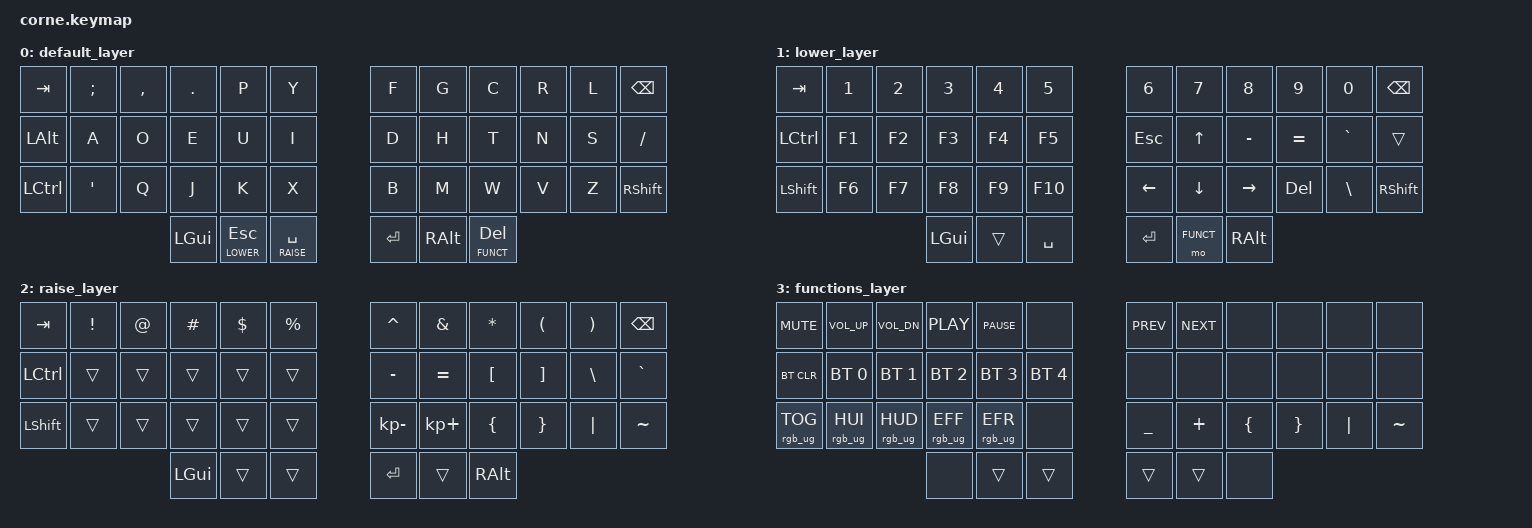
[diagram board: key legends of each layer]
/*
* Copyright (c) 2020 The ZMK Contributors
*
* SPDX-License-Identifier: MIT
*/

#include <behaviors.dtsi>
#include <dt-bindings/zmk/keys.h>
#include <dt-bindings/zmk/bt.h>
#include <dt-bindings/zmk/rgb.h>


#define DEFAULT 0
#define LOWER   1
#define RAISE   2
#define FUNCT   3

/ {
	keymap {
		compatible = "zmk,keymap";
		
		default_layer {
			// -----------------------------------------------------------------------------------------
			// | TAB |  ;  |  ,  |  .  |  P  |  Y  |   |  F  |  G   |  C  |  R  |  L  | BSPC |
			//| LALT |  A  |  O  |  E  |  U  |  I  |   |  D  |  H   |  T  |  N  |  S  |  /   |
			// | LCTRL | ' |  Q  |  J  |  K  |  X  |   |  B  |  M   |  W  |  V  |  Z  | RSHITF |
			//                    | GUI | ESC(LOWER) | SPC(RAISE) |   | ENT | RSE  | ALT |
			bindings = <
			&kp TAB  &kp SEMICOLON &kp COMMA &kp PERIOD  &kp P &kp Y   &kp F &kp G  &kp C     &kp R   &kp L    &kp BSPC
			&kp LALT &kp A &kp O &kp E &kp U &kp I   &kp D &kp H  &kp T     &kp N   &kp S &kp SLASH
			&kp LCTRL &kp SQT &kp Q &kp J &kp K &kp X   &kp B &kp M  &kp W &kp V &kp Z &kp RSHFT
			&kp LGUI &lt LOWER ESC &lt RAISE SPACE   &kp ENTER &kp RALT  &lt FUNCT DEL
			>;
		};

		lower_layer {
			// -----------------------------------------------------------------------------------------
			// |  TAB  |  1  |  2  |  3  |  4  |  5  |   |  6   |  7   |   8   |   9    |     0     |  BSPC  |
			// | BTCLR |  F1 |  F2 |  F3 |  F4 |  F5 |   | ESC  |  UP  | MINUS | EQUAL  |   GRAVE   |        |
			// | SHFT  |  F6 |  F7 |  F8 |  F9 | F10 |   | LEFT | DOWN | RIGHT | DELETE | BACKSLASH | RSHIFT |
			//                     | GUI |     | SPC |   | ENT  | FUNCT | ALT |
			bindings = <
			&kp TAB    &kp N1     &kp N2    &kp N3   &kp N4   &kp N5      &kp N6    &kp N7    &kp N8     &kp N9      &kp N0         &kp BSPC
			&kp LCTRL  &kp F1     &kp F2    &kp F3   &kp F4   &kp F5      &kp ESC   &kp UP    &kp MINUS  &kp EQUAL   &kp GRAVE      &trans
			&kp LSHFT  &kp F6     &kp F7    &kp F8   &kp F9   &kp F10     &kp LEFT  &kp DOWN  &kp RIGHT  &kp DELETE  &kp BACKSLASH  &kp RSHFT
			&kp LGUI   &trans     &kp SPACE                               &kp ENTER &mo FUNCT &kp RALT
			>;
		};
		
		raise_layer {
			// -----------------------------------------------------------------------------------------
			// |  TAB |  !  |  @  |  #  |  $  |  %  |   |  ^  |  &  |  *  |  (  |  )  | BSPC |
			// | CTRL |     |     |     |     |     |   |  -  |  =  |  [  |  ]  |  \  |  `   |
			// | SHFT |     |     |     |     |     |   |  _  |  +  |  {  |  }  | "|" |  ~   |
			//                    | GUI |     | SPC |   | ENT |     | ALT |
			bindings = <
			&kp  TAB  &kp EXCL &kp AT &kp HASH &kp DLLR &kp PRCNT   &kp CARET &kp AMPS  &kp ASTRK &kp LPAR &kp RPAR &kp BSPC
			&kp LCTRL &trans   &trans &trans   &trans   &trans      &kp MINUS &kp EQUAL &kp LBKT  &kp RBKT &kp BSLH &kp GRAVE
			&kp LSHFT &trans   &trans &trans   &trans   &trans      &kp KP_MINUS &kp KP_PLUS  &kp LBRC  &kp RBRC &kp PIPE &kp TILDE
			&kp LGUI  &trans   &trans   &kp RET   &trans    &kp RALT
			>;
		};

                functions_layer {
			// -----------------------------------------------------------------------------------------
			// |  TAB |  !  |  @  |  #  |  $  |  %  |   |  ^  |  &  |  *  |  (  |  )  | BSPC |
			// | CTRL |     |     |     |     |     |   |  -  |  =  |  [  |  ]  |  \  |  `   |
			// | SHFT |     |     |     |     |     |   |  _  |  +  |  {  |  }  | "|" |  ~   |
			//                    | GUI |     | SPC |   | ENT |     | ALT |
			bindings = <
			&kp C_MUTE  &kp C_VOL_UP &kp C_VOL_DN &kp C_PLAY &kp C_PAUSE &none   &kp C_PREV &kp C_NEXT  &none &none &none &none
			&bt BT_CLR &bt BT_SEL 0 &bt BT_SEL 1 &bt BT_SEL 2 &bt BT_SEL 3 &bt BT_SEL 4     &none &none &none  &none &none &none
			&rgb_ug RGB_TOG &rgb_ug RGB_HUI   &rgb_ug RGB_HUD &rgb_ug RGB_EFF  &rgb_ug RGB_EFR   &none      &kp UNDER &kp PLUS  &kp LBRC  &kp RBRC &kp PIPE &kp TILDE
			&none &trans   &trans   &trans   &trans    &none
			>;
		};
	};
};
